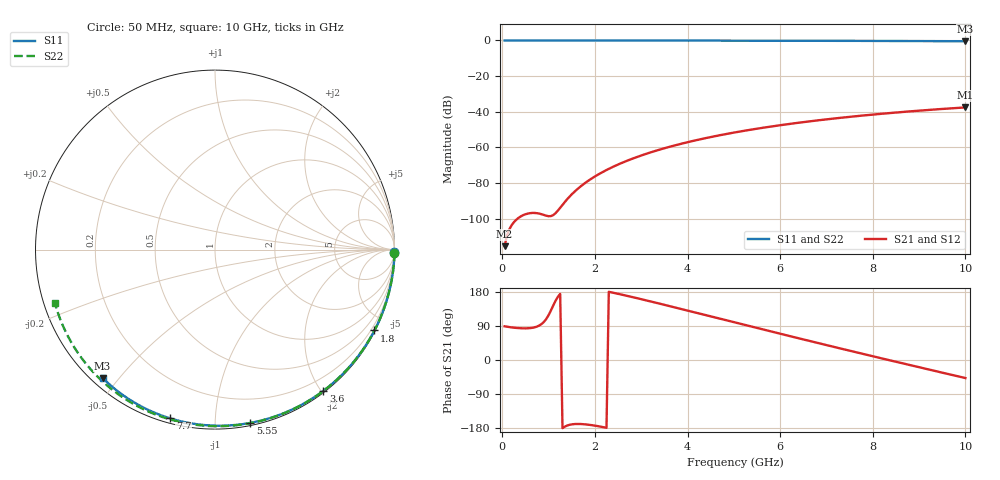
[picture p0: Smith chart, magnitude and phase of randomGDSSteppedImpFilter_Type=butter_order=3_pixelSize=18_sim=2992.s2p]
! freq	dB(S11)	phase(S11)	dB(S12)	phase(S12)
!  dB(S21)	phase(S21)	dB(S22)	phase(S22)
!S-par simulation data
#  GHz  S  DB  R 50
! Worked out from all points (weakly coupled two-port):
!   200 points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, 50 MHz to 10 GHz, reference 50 ohm
!   highest |S21| = -37.55 dB at 10 GHz (marker M1); lowest = -115.4 dB at 50 MHz (marker M2)
!   lowest |S11| = -0.4 dB at 10 GHz (marker M3), VSWR 39.38, Z = 1.53 - j22.7 ohm
!   |S11| at or under -10 dB: nowhere
!   |S22| runs from -0.5 to 0.0 dB; largest |S21 - S12| = 0
!   S11 on the Smith chart (normalised r, x): 50 MHz: open; 1.8 GHz: 0.04, -4.18; 3.6 GHz: 0.02, -2.02; 5.55 GHz: 0.02, -1.22; 7.7 GHz: 0.02, -0.77; 10 GHz: 0.03, -0.45
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0.05  -0.00 -0.8  -115.37 88.9  -115.37 88.9  -0.00 -1.0
0.45  -0.01 -6.8  -97.99 83.5  -97.99 83.5  -0.01 -8.5
0.85  -0.02 -12.8  -97.46 95.1  -97.46 95.1  -0.02 -16.0
1.3  -0.02 -19.5  -92.15 -179.8  -92.15 -179.8  -0.03 -24.4
1.75  -0.03 -26.2  -80.67 -169.4  -80.67 -169.4  -0.04 -32.6
1.8  -0.03 -26.9  -79.71 -169.9  -79.71 -169.9  -0.04 -33.5
1.95  -0.04 -29.1  -77.08 -172.3  -77.08 -172.3  -0.05 -36.2
2.1  -0.04 -31.3  -74.75 -175.3  -74.75 -175.3  -0.05 -38.9
2.3  -0.04 -34.2  -72.01 179.9  -72.01 179.9  -0.05 -42.5
2.5  -0.05 -37.0  -69.58 174.7  -69.58 174.7  -0.06 -46.1
2.9  -0.06 -42.8  -65.43 163.5  -65.43 163.5  -0.07 -53.1
3.4  -0.07 -49.8  -61.20 148.7  -61.20 148.7  -0.08 -61.7
3.6  -0.07 -52.6  -59.72 142.6  -59.72 142.6  -0.09 -65.1
4.3  -0.09 -62.1  -55.28 121.2  -55.28 121.2  -0.11 -76.7
5.05  -0.11 -72.1  -51.44 98.3  -51.44 98.3  -0.14 -88.7
5.55  -0.13 -78.5  -49.27 83.0  -49.27 83.0  -0.16 -96.5
6.1  -0.15 -85.5  -47.17 66.3  -47.17 66.3  -0.19 -104.9
6.7  -0.18 -92.9  -45.16 48.3  -45.16 48.3  -0.22 -113.8
7.7  -0.24 -104.9  -42.32 18.7  -42.32 18.7  -0.29 -128.4
8.35  -0.29 -112.5  -40.75 -0.3  -40.75 -0.3  -0.35 -137.7
9.2  -0.36 -122.2  -38.97 -24.8  -38.97 -24.8  -0.44 -149.9
10  -0.44 -131.2  -37.55 -47.6  -37.55 -47.6  -0.54 -161.6
